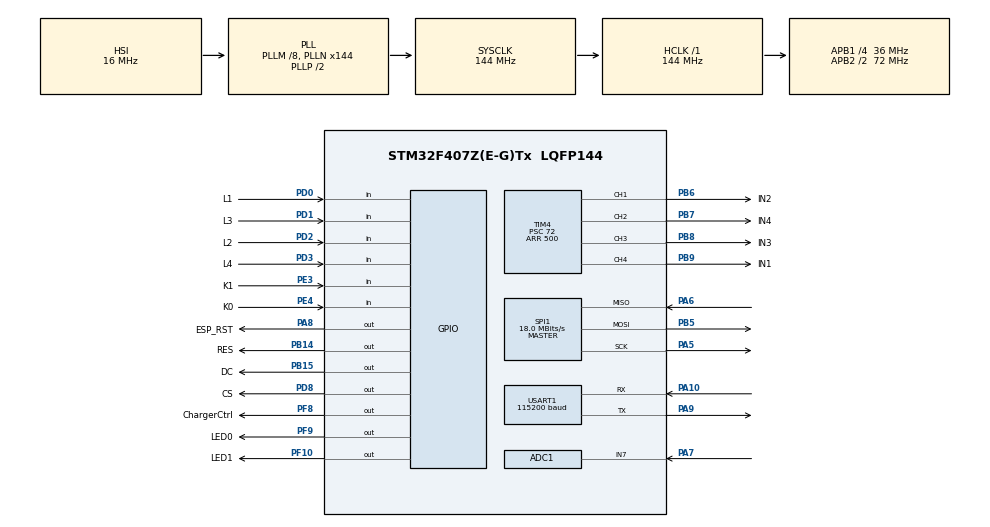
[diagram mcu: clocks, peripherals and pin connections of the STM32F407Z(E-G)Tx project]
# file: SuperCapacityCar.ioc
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ADC1.Channel-3\#ChannelRegularConversion=ADC_CHANNEL_7
ADC1.ClockPrescaler=ADC_CLOCK_SYNC_PCLK_DIV4
ADC1.ContinuousConvMode=DISABLE
ADC1.DMAContinuousRequests=ENABLE
ADC1.EOCSelection=ADC_EOC_SEQ_CONV
ADC1.ExternalTrigConv=ADC_EXTERNALTRIGCONV_T3_TRGO
ADC1.NbrOfConversionFlag=1
ADC1.Rank-3\#ChannelRegularConversion=1
ADC1.Resolution=ADC_RESOLUTION_12B
ADC1.SamplingTime-3\#ChannelRegularConversion=ADC_SAMPLETIME_3CYCLES
ADC1.ScanConvMode=DISABLE
ADC1.master=1
Dma.ADC1.0.Direction=DMA_PERIPH_TO_MEMORY
Dma.ADC1.0.FIFOMode=DMA_FIFOMODE_DISABLE
Dma.ADC1.0.Instance=DMA2_Stream0
Dma.ADC1.0.MemDataAlignment=DMA_MDATAALIGN_HALFWORD
Dma.ADC1.0.MemInc=DMA_MINC_ENABLE
Dma.ADC1.0.Mode=DMA_CIRCULAR
Dma.ADC1.0.PeriphDataAlignment=DMA_PDATAALIGN_HALFWORD
Dma.ADC1.0.PeriphInc=DMA_PINC_DISABLE
Dma.ADC1.0.Priority=DMA_PRIORITY_HIGH
Dma.Request0=ADC1
FREERTOS.HEAP_NUMBER=4
FREERTOS.INCLUDE_vTaskCleanUpResources=1
FREERTOS.Mutexes01=ACKQueueMutex,Dynamic,NULL;UDPSendMutex,Dynamic,NULL
FREERTOS.Tasks01=CapADCTask,2,128,StartCapADCTask,Default,NULL,Dynamic,NULL,NULL;ChargerADCTask,0,128,StartChargerADCTask,Default,NULL,Dynamic,NULL,NULL;MotorTask,1,128,StartMotorTask,As weak,NULL,Dynamic,NULL,NULL;NetworkSendTask,2,128,StartNetworkSendTask,Default,NULL,Dynamic,NULL,NULL;NetworkReceiveT,-1,128,StartNetworkReceiveTask,Default,NULL,Dynamic,NULL,NULL
FREERTOS.configLIBRARY_MAX_SYSCALL_INTERRUPT_PRIORITY=5
FREERTOS.configMINIMAL_STACK_SIZE=128
FREERTOS.configTOTAL_HEAP_SIZE=0x10000
FREERTOS.configUSE_NEWLIB_REENTRANT=0
FREERTOS.configUSE_RECURSIVE_MUTEXES=1
FREERTOS.copyHeapFile=1
Mcu.Family=STM32F4
Mcu.Name=STM32F407Z(E-G)Tx
Mcu.Package=LQFP144
NVIC.DMA2_Stream0_IRQn=true\:5\:0\:false\:false\:true\:true\:false\:true
NVIC.PriorityGroup=NVIC_PRIORITYGROUP_4
NVIC.TIM1_BRK_TIM9_IRQn=true\:5\:0\:true\:false\:true\:true\:true\:true
NVIC.TIM6_DAC_IRQn=true\:0\:0\:false\:false\:true\:false\:false\:true
NVIC.TimeBase=TIM6_DAC_IRQn
NVIC.TimeBaseIP=TIM6
NVIC.USART1_IRQn=true\:5\:0\:true\:false\:true\:true\:true\:true
PA10.Mode=Asynchronous
PA10.Signal=USART1_RX
PA13.Mode=Trace_Asynchronous_SW
PA13.Signal=SYS_JTMS-SWDIO
PA14.Mode=Trace_Asynchronous_SW
PA14.Signal=SYS_JTCK-SWCLK
PA5.Mode=Full_Duplex_Master
PA5.Signal=SPI1_SCK
PA6.Mode=Full_Duplex_Master
PA6.Signal=SPI1_MISO
PA7.Signal=ADCx_IN7
PA8.GPIO_Label=ESP_RST
PA8.GPIO_PuPd=GPIO_NOPULL
PA8.GPIO_Speed=GPIO_SPEED_FREQ_LOW
PA8.PinState=GPIO_PIN_SET
PA8.Signal=GPIO_Output
PA9.Mode=Asynchronous
PA9.Signal=USART1_TX
PB14.GPIO_Label=RES
PB14.Signal=GPIO_Output
PB15.GPIO_Label=DC
PB15.Signal=GPIO_Output
PB3.Mode=Trace_Asynchronous_SW
PB3.Signal=SYS_JTDO-SWO
PB5.Mode=Full_Duplex_Master
PB5.Signal=SPI1_MOSI
PB6.GPIO_Label=IN2
PB6.Signal=S_TIM4_CH1
PB7.GPIO_Label=IN4
PB7.Signal=S_TIM4_CH2
PB8.GPIO_Label=IN3
PB8.Signal=S_TIM4_CH3
PB9.GPIO_Label=IN1
PB9.Signal=S_TIM4_CH4
PC14-OSC32_IN.Mode=LSE-External-Oscillator
PC14-OSC32_IN.Signal=RCC_OSC32_IN
PC15-OSC32_OUT.Mode=LSE-External-Oscillator
PC15-OSC32_OUT.Signal=RCC_OSC32_OUT
PD0.GPIO_Label=L1
PD0.Signal=GPIO_Input
PD1.GPIO_Label=L3
PD1.Signal=GPIO_Input
PD2.GPIO_Label=L2
PD2.Signal=GPIO_Input
PD3.GPIO_Label=L4
PD3.Signal=GPIO_Input
PD8.GPIO_Label=CS
PD8.Signal=GPIO_Output
PE3.GPIO_Label=K1
PE3.Signal=GPIO_Input
PE4.GPIO_Label=K0
PE4.GPIO_PuPd=GPIO_PULLUP
PE4.Signal=GPIO_Input
PF10.GPIO_Label=LED1
PF10.Signal=GPIO_Output
PF8.GPIO_Label=ChargerCtrl
PF8.GPIO_PuPd=GPIO_PULLDOWN
PF8.GPIO_Speed=GPIO_SPEED_FREQ_HIGH
PF8.Signal=GPIO_Output
PF9.GPIO_Label=LED0
PF9.PinState=GPIO_PIN_SET
PF9.Signal=GPIO_Output
PH0-OSC_IN.Mode=HSE-External-Oscillator
PH0-OSC_IN.Signal=RCC_OSC_IN
PH1-OSC_OUT.Mode=HSE-External-Oscillator
PH1-OSC_OUT.Signal=RCC_OSC_OUT
ProjectManager.HeapSize=0x200
ProjectManager.StackSize=0x400
ProjectManager.TargetToolchain=Other Toolchains (GPDSC)
RCC.48MHZClocksFreq_Value=48000000
RCC.AHBFreq_Value=144000000
RCC.APB1CLKDivider=RCC_HCLK_DIV4
RCC.APB1Freq_Value=36000000
RCC.APB1TimFreq_Value=72000000
RCC.APB2CLKDivider=RCC_HCLK_DIV2
RCC.APB2Freq_Value=72000000
RCC.APB2TimFreq_Value=144000000
RCC.CortexFreq_Value=144000000
RCC.HCLKFreq_Value=144000000
RCC.HSE_VALUE=8000000
RCC.HSI_VALUE=16000000
RCC.PLLM=8
RCC.PLLN=144
RCC.PLLQ=6
RCC.SYSCLKFreq_VALUE=144000000
RCC.SYSCLKSource=RCC_SYSCLKSOURCE_PLLCLK
RCC.VCOOutputFreq_Value=288000000
SH.ADCx_IN7.0=ADC1_IN7,IN7
SH.S_TIM4_CH1.0=TIM4_CH1,PWM Generation1 CH1
SH.S_TIM4_CH2.0=TIM4_CH2,PWM Generation2 CH2
SH.S_TIM4_CH3.0=TIM4_CH3,PWM Generation3 CH3
SH.S_TIM4_CH4.0=TIM4_CH4,PWM Generation4 CH4
SPI1.BaudRatePrescaler=SPI_BAUDRATEPRESCALER_4
SPI1.CalculateBaudRate=18.0 MBits/s
SPI1.Direction=SPI_DIRECTION_2LINES
SPI1.Mode=SPI_MODE_MASTER
SPI1.VirtualType=VM_MASTER
TIM3.AutoReloadPreload=TIM_AUTORELOAD_PRELOAD_ENABLE
TIM3.Period=50
TIM3.Prescaler=14400
TIM3.TIM_MasterOutputTrigger=TIM_TRGO_UPDATE
TIM4.AutoReloadPreload=TIM_AUTORELOAD_PRELOAD_ENABLE
TIM4.Channel-PWM\ Generation1\ CH1=TIM_CHANNEL_1
TIM4.Channel-PWM\ Generation2\ CH2=TIM_CHANNEL_2
TIM4.Channel-PWM\ Generation3\ CH3=TIM_CHANNEL_3
TIM4.Channel-PWM\ Generation4\ CH4=TIM_CHANNEL_4
TIM4.OCPolarity_1=TIM_OCPOLARITY_LOW
TIM4.OCPolarity_2=TIM_OCPOLARITY_LOW
TIM4.OCPolarity_3=TIM_OCPOLARITY_LOW
TIM4.OCPolarity_4=TIM_OCPOLARITY_LOW
TIM4.Period=500
TIM4.Prescaler=72
TIM9.AutoReloadPreload=TIM_AUTORELOAD_PRELOAD_ENABLE
TIM9.Period=20000
TIM9.Prescaler=7200
USART1.BaudRate=115200
USART1.Parity=PARITY_NONE
USART1.VirtualMode=VM_ASYNC
USART1.WordLength=WORDLENGTH_8B
VP_CRC_VS_CRC.Mode=CRC_Activate
VP_FREERTOS_VS_CMSIS_V1.Mode=CMSIS_V1
VP_RNG_VS_RNG.Mode=RNG_Activate
VP_SYS_VS_tim6.Mode=TIM6
VP_TIM3_VS_ClockSourceINT.Mode=Internal
VP_TIM4_VS_ClockSourceINT.Mode=Internal
VP_TIM9_VS_ClockSourceINT.Mode=Internal
board=custom

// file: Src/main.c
/* USER CODE BEGIN Header */
/**
  ******************************************************************************
  * @file           : main.c
  * @brief          : Main program body
  ******************************************************************************
  * @attention
  *
  * <h2><center>&copy; Copyright (c) 2021 STMicroelectronics.
  * All rights reserved.</center></h2>
  *
  * This software component is licensed by ST under Ultimate Liberty license
  * SLA0044, the "License"; You may not use this file except in compliance with
  * the License. You may obtain a copy of the License at:
  *                             www.st.com/SLA0044
  *
  ******************************************************************************
  */
/* USER CODE END Header */
#include "main.h"
#include "cmsis_os.h"
#include "adc.h"
#include "crc.h"
#include "dma.h"
#include "rng.h"
#include "spi.h"
#include "tim.h"
#include "usart.h"
#include "gpio.h"

/* USER CODE BEGIN PV */
uint32_t GlobalTick;
/* USER CODE END PV */

void SystemClock_Config(void);
void MX_FREERTOS_Init(void);

int main(void)
{

  /* MCU Configuration--------------------------------------------------------*/

  /* Reset of all peripherals, Initializes the Flash interface and the Systick. */
  HAL_Init();

  /* Configure the system clock */
  SystemClock_Config();

  /* Initialize all configured peripherals */
  MX_GPIO_Init();
  MX_DMA_Init();
  MX_ADC1_Init();
  MX_USART1_UART_Init();
  MX_TIM3_Init();
  MX_RNG_Init();
  MX_TIM9_Init();
  MX_CRC_Init();
  MX_SPI1_Init();
  MX_TIM4_Init();

  /* Call init function for freertos objects (in freertos.c) */
  MX_FREERTOS_Init();
  /* Start scheduler */
  osKernelStart();

  /* We should never get here as control is now taken by the scheduler */
  /* Infinite loop */
  while (1)
  {

  }
}

void SystemClock_Config(void)
{
  RCC_OscInitTypeDef RCC_OscInitStruct = {0};
  RCC_ClkInitTypeDef RCC_ClkInitStruct = {0};

  /** Configure the main internal regulator output voltage
  */
  __HAL_RCC_PWR_CLK_ENABLE();
  __HAL_PWR_VOLTAGESCALING_CONFIG(PWR_REGULATOR_VOLTAGE_SCALE1);
  /** Initializes the RCC Oscillators according to the specified parameters
  * in the RCC_OscInitTypeDef structure.
  */
  RCC_OscInitStruct.OscillatorType = RCC_OSCILLATORTYPE_HSI;
  RCC_OscInitStruct.HSIState = RCC_HSI_ON;
  RCC_OscInitStruct.HSICalibrationValue = RCC_HSICALIBRATION_DEFAULT;
  RCC_OscInitStruct.PLL.PLLState = RCC_PLL_ON;
  RCC_OscInitStruct.PLL.PLLSource = RCC_PLLSOURCE_HSI;
  RCC_OscInitStruct.PLL.PLLM = 8;
  RCC_OscInitStruct.PLL.PLLN = 144;
  RCC_OscInitStruct.PLL.PLLP = RCC_PLLP_DIV2;
  RCC_OscInitStruct.PLL.PLLQ = 6;
  if (HAL_RCC_OscConfig(&RCC_OscInitStruct) != HAL_OK)
  {
    Error_Handler();
  }
  /** Initializes the CPU, AHB and APB buses clocks
  */
  RCC_ClkInitStruct.ClockType = RCC_CLOCKTYPE_HCLK|RCC_CLOCKTYPE_SYSCLK
                              |RCC_CLOCKTYPE_PCLK1|RCC_CLOCKTYPE_PCLK2;
  RCC_ClkInitStruct.SYSCLKSource = RCC_SYSCLKSOURCE_PLLCLK;
  RCC_ClkInitStruct.AHBCLKDivider = RCC_SYSCLK_DIV1;
  RCC_ClkInitStruct.APB1CLKDivider = RCC_HCLK_DIV4;
  RCC_ClkInitStruct.APB2CLKDivider = RCC_HCLK_DIV2;

  if (HAL_RCC_ClockConfig(&RCC_ClkInitStruct, FLASH_LATENCY_4) != HAL_OK)
  {
    Error_Handler();
  }
}

 /**
  * @brief  Period elapsed callback in non blocking mode
  * @note   This function is called  when TIM6 interrupt took place, inside
  * HAL_TIM_IRQHandler(). It makes a direct call to HAL_IncTick() to increment
  * a global variable "uwTick" used as application time base.
  * @param  htim : TIM handle
  * @retval None
  */
void HAL_TIM_PeriodElapsedCallback(TIM_HandleTypeDef *htim)
{
  /* USER CODE BEGIN Callback 0 */
  if (htim->Instance == TIM9) {
    GlobalTick++;
    HAL_GPIO_TogglePin(LED0_GPIO_Port,LED0_Pin);
  }
  /* USER CODE END Callback 0 */
  if (htim->Instance == TIM6) {
    HAL_IncTick();
  }
}

void Error_Handler(void)
{
  __disable_irq();
  while (1)
  {
  }
}

/************************ (C) COPYRIGHT STMicroelectronics *****END OF FILE****/

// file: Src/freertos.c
/* USER CODE BEGIN Header */
/**
  ******************************************************************************
  * File Name          : freertos.c
  * Description        : Code for freertos applications
  ******************************************************************************
  * @attention
  *
  * <h2><center>&copy; Copyright (c) 2021 STMicroelectronics.
  * All rights reserved.</center></h2>
  *
  * This software component is licensed by ST under Ultimate Liberty license
  * SLA0044, the "License"; You may not use this file except in compliance with
  * the License. You may obtain a copy of the License at:
  *                             www.st.com/SLA0044
  *
  ******************************************************************************
  */
/* USER CODE END Header */

#include "FreeRTOS.h"
#include "task.h"
#include "main.h"
#include "cmsis_os.h"

/* USER CODE BEGIN Includes */
// #include "printf-stdarg.h"
#include "retarget.h"
#include <stdio.h>
#include <string.h>
#include "adc.h"
#include "dma.h"
#include "spi.h"
#include "tim.h"
#include "crc.h"
#include "usart.h"
#include "gpio.h"
#include "rng.h"
// #include "TM1637.h"
// #include "ssd1306.h"
// #include "ssd1306_tests.h"
#include "oled.h"
#include "motor.h"
#include "sensor.h"
#include "ESP.h"
#include "stream_buffer.h"
#include "message_buffer.h"
/* USER CODE END Includes */

/* USER CODE BEGIN PD */
#define ACK_MAX_RETRY 3
#define ACK_OVERFLOW 0xFF
/* USER CODE END PD */

/* USER CODE BEGIN Variables */
uint32_t adc1_7_res;
float cap_avg;
uint8_t MotorStatus;
// TM1637 dp;
uint8_t idTail;
extern uint32_t GlobalTick;

SemaphoreHandle_t ACKSemaphore[128];
uint8_t ACKTimes[128];
UDPRequest ACK[128];
uint32_t ACKcrc[128];

QueueHandle_t SendQueueHandle;
MessageBufferHandle_t ReceiveQueueHandle;

/* USER CODE END Variables */
osThreadId CapADCTaskHandle;
osThreadId ChargerADCTaskHandle;
osThreadId MotorTaskHandle;
osThreadId NetworkSendTaskHandle;
osThreadId NetworkReceiveTHandle;
osMutexId ACKQueueMutexHandle;
osMutexId UDPSendMutexHandle;

/* USER CODE BEGIN FunctionPrototypes */
uint32_t CRC32(uint8_t *data,size_t len);
void ChargerOff();
void ChargerOn();
void MotorStart();
void MotorStop();
void MotorSpeed();
void StartCharge();
float GetCapVol();
float GetAvgCapVol();
uint8_t BitCount(uint8_t *data, size_t len);
uint8_t SendACKPackage(uint8_t id, uint8_t resend, uint32_t crc);
uint8_t SendUDPPackage(uint8_t op, uint8_t qos, uint8_t *data, size_t len);
uint8_t SendAMGData(const AMGData * data,int qos);
inline uint16_t HammingUnpack(uint16_t v);
inline uint16_t HammingPack(uint16_t v);
inline uint8_t GetACKid();
void FreeACK(uint8_t id);
void ACKSemaphoreInit();
void StartOLEDTask(void const * argument);
void StartSingleACKTask(void const * argument);
/* USER CODE END FunctionPrototypes */

void StartCapADCTask(void const * argument);
void StartChargerADCTask(void const * argument);
void StartMotorTask(void const * argument);
void StartNetworkSendTask(void const * argument);
void StartNetworkReceiveTask(void const * argument);

void MX_FREERTOS_Init(void); /* (MISRA C 2004 rule 8.1) */

/* GetIdleTaskMemory prototype (linked to static allocation support) */
void vApplicationGetIdleTaskMemory( StaticTask_t **ppxIdleTaskTCBBuffer, StackType_t **ppxIdleTaskStackBuffer, uint32_t *pulIdleTaskStackSize );

/* USER CODE BEGIN GET_IDLE_TASK_MEMORY */
static StaticTask_t xIdleTaskTCBBuffer;
static StackType_t xIdleStack[configMINIMAL_STACK_SIZE];

void vApplicationGetIdleTaskMemory( StaticTask_t **ppxIdleTaskTCBBuffer, StackType_t **ppxIdleTaskStackBuffer, uint32_t *pulIdleTaskStackSize )
{
  *ppxIdleTaskTCBBuffer = &xIdleTaskTCBBuffer;
  *ppxIdleTaskStackBuffer = &xIdleStack[0];
  *pulIdleTaskStackSize = configMINIMAL_STACK_SIZE;
  /* place for user code */
}
/* USER CODE END GET_IDLE_TASK_MEMORY */

void MX_FREERTOS_Init(void) {
  /* USER CODE BEGIN Init */
  RetargetInit();
  OLED_Init();
  HAL_TIM_PWM_Start(&htim4, TIM_CHANNEL_1);
  HAL_TIM_PWM_Start(&htim4, TIM_CHANNEL_2);
  HAL_TIM_PWM_Start(&htim4, TIM_CHANNEL_3);
  HAL_TIM_PWM_Start(&htim4, TIM_CHANNEL_4);
  moto_stop();
  MotorStatus = MOTOR_STOPPED;
  OLED_InitShow();
  idTail = (uint8_t)(HAL_RNG_GetRandomNumber(&hrng) >> (32-8+1));
  HAL_TIM_Base_Start_IT(&htim9);
  HAL_ADC_Start_DMA(&hadc1,&adc1_7_res,1);
  HAL_TIM_Base_Start(&htim3);
  ACKSemaphoreInit();

  /* USER CODE END Init */
  /* Create the mutex(es) */
  /* definition and creation of ACKQueueMutex */
  osMutexDef(ACKQueueMutex);
  ACKQueueMutexHandle = osMutexCreate(osMutex(ACKQueueMutex));

  /* definition and creation of UDPSendMutex */
  osMutexDef(UDPSendMutex);
  UDPSendMutexHandle = osMutexCreate(osMutex(UDPSendMutex));

  /* USER CODE BEGIN RTOS_QUEUES */
  /* add queues, ... */

  SendQueueHandle = xQueueCreate(16, sizeof (UDPRequest));

  ReceiveQueueHandle = xMessageBufferCreate(UART_BUF_SIZE * 8);

  itm_printf("InitHere!!!\n");
  /* USER CODE END RTOS_QUEUES */

  /* Create the thread(s) */
  /* definition and creation of CapADCTask */
  osThreadDef(CapADCTask, StartCapADCTask, osPriorityHigh, 0, 128);
  CapADCTaskHandle = osThreadCreate(osThread(CapADCTask), NULL);

  /* definition and creation of ChargerADCTask */
  osThreadDef(ChargerADCTask, StartChargerADCTask, osPriorityNormal, 0, 128);
  ChargerADCTaskHandle = osThreadCreate(osThread(ChargerADCTask), NULL);

  /* definition and creation of MotorTask */
  osThreadDef(MotorTask, StartMotorTask, osPriorityAboveNormal, 0, 128);
  MotorTaskHandle = osThreadCreate(osThread(MotorTask), NULL);

  /* definition and creation of NetworkSendTask */
  osThreadDef(NetworkSendTask, StartNetworkSendTask, osPriorityHigh, 0, 128);
  NetworkSendTaskHandle = osThreadCreate(osThread(NetworkSendTask), NULL);

  /* definition and creation of NetworkReceiveT */
  osThreadDef(NetworkReceiveT, StartNetworkReceiveTask, osPriorityBelowNormal, 0, 128);
  NetworkReceiveTHandle = osThreadCreate(osThread(NetworkReceiveT), NULL);

}

void StartCapADCTask(void const * argument)
{
  /* USER CODE BEGIN StartCapADCTask */
  uint8_t s[2];
  /* Infinite loop */

  //speed test
  // uint8_t *raw = (uint8_t *)pvPortMalloc(500);
  // memset(raw,'a',500);
  // for (;;)
  // {
  //   SendUDPPackage(0,0,raw,500);
  //   // osDelay(40);
  // }
  //speed test
  uint8_t pos=0;
  float vol[16];
  for (int i=0;i<16;i++)
    cap_avg += (vol[i] = GetCapVol());
  cap_avg /= 16;
  for(uint8_t i=1;1;i++)
  {
    if (GetCapVol() > MAX_CAP_VOL)
      ChargerOff();
    if (GetCapVol() < MIN_CAP_VOL)
      ChargerOn();
    if (!i)
    {
      s[0] = (uint8_t)(adc1_7_res&0xFF);
      s[1] = (uint8_t)(adc1_7_res>>8);
      SendUDPPackage(6,0,s,2);
    }
    if (!(i & (1<<4)))
    {
      cap_avg -= vol[pos]/16;
      vol[pos] = GetCapVol();
      cap_avg += vol[pos]/16;
      pos = ++pos == 16 ? 0 : pos;
    }
    osDelay(5);
  }
  /* USER CODE END StartCapADCTask */
}

void StartChargerADCTask(void const * argument)
{
  /* USER CODE BEGIN StartChargerADCTask */
  /* Infinite loop */
  for(;;)
  {
    osDelay(5);
  }
  /* USER CODE END StartChargerADCTask */
}

__weak void StartMotorTask(void const * argument)
{
  /* USER CODE BEGIN StartMotorTask */
  /* Infinite loop */
  // StartCharge();
  // MotorStatus = MOTOR_RUNNING;
  uint8_t t;
  xTaskCreate((void *)StartOLEDTask, NULL, 128,NULL, osPriorityIdle, NULL);
  MotorStatus = MOTOR_STOPPED;
  while (MotorStatus != MOTOR_RUNNING)
    osDelay(5);
  moto_turn_around();
  MotorStop();
  // while (Find_situation() != CIRCLE)
  //   osDelay(1);
  // moto_anti_clockwise();
  // while (Find_situation() != POSITION_OK)
  //   osDelay(1);
  for(;;)
  {
    osDelay(1);
    if (MotorStatus != MOTOR_RUNNING)
      continue;
    t = Find_situation();
    if (t == TURN_LEFT)
    {
			moto_sprint_left();
      itm_printf("Left\n");
    }
    else if (t == TURN_RIGHT)
    {
			moto_sprint_right();
      itm_printf("Right\n");
    }
    else
    {
      moto_straight();
      itm_printf("Straight\n");
    }
  }
  /* USER CODE END StartMotorTask */
}

/* USER CODE BEGIN Header_StartNetworkSendTask */
/**
* @brief Function that manage the sending of all normal UDP package
* @param argument: Not used
* @retval None
*/
/* USER CODE END Header_StartNetworkSendTask */
void StartNetworkSendTask(void const * argument)
{
  /* USER CODE BEGIN StartNetworkSendTask */
  /* Infinite loop */
  ESPInit();
  __HAL_UART_ENABLE_IT(&huart1, UART_IT_RXNE);
  UDPRequest t;
  for(;;)
  {
    xQueueReceive(SendQueueHandle,&t,portMAX_DELAY);
    // if (t.id!=0)
    //   itm_printf("%d: %p, %d\n",t.id,t.data,ACKTimes[t.id]);
    if (t.id)
      xTaskCreate((void *)StartSingleACKTask, NULL, 128, (void *)&t.id, osPriorityNormal, NULL);
    ESPSend(t.data, t.len);
    if (!t.id)
      vPortFree(t.data);
    osDelay(5);
  }
  /* USER CODE END StartNetworkSendTask */
}

void StartNetworkReceiveTask(void const * argument)
{
  /* USER CODE BEGIN StartNetworkReceiveTask */
  /* Infinite loop */
  uint8_t op, qos, prt, id;
  size_t rlen, len;
  uint8_t *raw, *praw;
  praw = raw = (uint8_t *)pvPortMalloc(UART_BUF_SIZE+1);
  uint16_t header;
  uint32_t crc;
  for(;;)
  {
    raw = praw;
    rlen = xMessageBufferReceive(ReceiveQueueHandle,raw,UART_BUF_SIZE,portMAX_DELAY);
    if (rlen == 0)
      itm_printf("Weird, xMBR report buffer too small\n");
    raw[rlen]='\0';
    // itm_printf("%d:#%s#\n",rlen,raw);
    // for (uint8_t i = 0;i<rlen;i++)
    //   itm_printf("%02x",raw[i]);
    // itm_printf("\n");
    header = HammingUnpack(*((uint16_t *)raw));
    // for now, we don't support ACK request resend
    if (__builtin_popcount(header) & 1) // header check failed, drop package
      continue;
    op  = header >> 5 & 0x07;
    if (op == 0x7) // receive ACK
    {
      if (rlen != 6) // ACK len error, drop
        continue;
      id = header >> 9;
      crc = *((uint32_t *)(raw+2));
      // itm_printf("crc:%lX\n",crc);
      if (id == 0)
        continue;
      if (ACK[id].id == 0 || crc != ACKcrc[id]) // ACK no exist, drop
        continue;
      if (header >> 3 & 1) // ACK request resend NOT WORKING
        xQueueSend(SendQueueHandle,&ACK[id],pdMS_TO_TICKS(200)); // receive resend ACK
      xSemaphoreGive(ACKSemaphore[id]);
      continue;
    }
    len = (header >> 9 & 0x3F) << 3;
    qos = header >> 3 & 0x01;
    prt = header >> 15;
    // itm_printf("%d:#%s#\n",rlen,raw);
    // itm_printf("rlen:%d, len:%d, op:%d, qos:%d, prt:%d\n",rlen,len,op,qos,prt);
    if (len + qos + 2 != rlen) // len error, drop
      continue;
    if (len !=0 && prt != BitCount(raw+2+qos, len))
      continue;
    if (qos)
    {
      crc = CRC32(raw+3,len);
      id = raw[2];
      if (__builtin_popcount(id) & 0x1) // id parity check failed, drop
        continue;
      id &= 0x7F;
      if (id == 0)
        continue;
      // itm_printf("%d %lX\n",id,crc);
      SendACKPackage(id,0,crc);
      raw += 1;
    }
    raw += 2;
    if (op == 0x0)
      itm_printf("Receive: #%s#\n",raw);
    else if (op == 0x1)
      MotorStop();
    else if (op == 0x2)
      MotorStart();
    else if (op == 0x3)
      ChargerOff();
    else if (op == 0x4)
      ChargerOn();
    else if (op == 0x5)
    {
      if (len != 2) // op 0x5 len error, drop
        continue;
      MotorSpeed(*((uint16_t *)raw));
    }
    else if (op == 0x6)
    {
      // PING
    }
    osDelay(1);
  }
  /* USER CODE END StartNetworkReceiveTask */
}

/* USER CODE BEGIN Application */

void ChargerOn()
{
  if (GetCapVol() <= MAX_CAP_VOL)
    HAL_GPIO_WritePin(ChargerCtrl_GPIO_Port,ChargerCtrl_Pin,GPIO_PIN_RESET);
}
void ChargerOff()
{

  if (GetCapVol() >= MIN_CAP_VOL)
    HAL_GPIO_WritePin(ChargerCtrl_GPIO_Port,ChargerCtrl_Pin,GPIO_PIN_SET);
}
void MotorStart()
{
  MotorStatus = MOTOR_RUNNING;
  // moto_straight();
}
void MotorStop()
{
  MotorStatus = MOTOR_STOPPED;
  moto_stop();
}
void MotorSpeed() {}
inline float GetCapVol() {return 3.3 * 5 * adc1_7_res/((1<<12)-1);}
inline float GetAvgCapVol() {return cap_avg;}

void StartCharge()
{
  // uint32_t start_time = GlobalTick;
  for (uint16_t t=1;(GetCapVol() <10.0 && t<=60);t++)
  {
    OLED_ShowTim(GetCapVol(), t);
    vTaskDelay(1000);
  }
  OLED_Clear();
  OLED_ShowChinese(25,22,17,20,1);
  OLED_ShowChinese(45,22,18,20,1);
  OLED_ShowChinese(65,22,19,20,1);
  OLED_ShowChinese(85,22,20,20,1);
}

uint8_t SendAMGData(const AMGData * data,int qos)
{
  uint8_t *raw = pvPortMalloc(12 * 64 / 8);
  uint8_t *p = raw;
  uint16_t a,b;
  uint8_t ret;
  for (int i=0,j=1;i<64;i+=2,j+=2)
  {
    a = (data->data[i] & ((1<<12) - 1));
    b = (data->data[j] & ((1<<12) - 1));
    *(p++) = a & ((1<<8) - 1);
    *(p++) = (a >> 8) || b & ((1<<4) - 1);
    *(p++) = b >> 4;
  }
  ret = SendUDPPackage(1,0,raw,12 * 64 / 8);
  vPortFree(raw);
  return ret;
}

uint32_t CRC32(uint8_t *data,size_t len)
{
  if (len==0)
    return 0;
  size_t rlen = (len-1)/4+1;
  uint32_t *raw = (uint32_t *)pvPortMalloc(rlen*4);
  raw[rlen-1] = 0;
  memcpy(raw,data,len);
  for (int i=0;i<rlen;i++)
    raw[i]= __RBIT(raw[i]);
  uint32_t ret = HAL_CRC_Calculate(&hcrc,raw,rlen);
  vPortFree(raw);
  return __RBIT(ret)^0xFFFFFFFF;
}

void FreeACK(uint8_t id)
{
  vPortFree(ACK[id].data);
  ACKTimes[id] = 0;
  ACK[id].len = 0;
  ACK[id].id = 0;
}

void StartOLEDTask(void const * argument)
{
  OLED_Refresh();
  OLED_Clear();
  OLED_TypeP();
  for(;;)
  {
    OLED_ShowPerc(GetAvgCapVol());
    osDelay(1000);
  }
}

void StartSingleACKTask(void const * argument)
{
  uint8_t id = *((uint8_t *)argument);
  // itm_printf("%d %d %p\n",ACK[id].id,ACK[id].len,ACK[id].data);
  if (xSemaphoreTake(ACKSemaphore[id],pdMS_TO_TICKS(1500)) != pdPASS)
  {
    if (ACKTimes[id]==ACK_MAX_RETRY)
    {
      itm_printf("%d reach ACK_MAX_RETRY time..\n",id);
      FreeACK(id);
    }
    else if (ACKTimes[id]==ACK_OVERFLOW)
    {
      itm_printf("ACK array overflow!!(%d cleaned)\n",id);
      FreeACK(id);
    }
    else
    {
      ACKTimes[id]++;
      if (xQueueSend(SendQueueHandle,&(ACK[id]),pdMS_TO_TICKS(200)) != pdPASS)
        FreeACK(id);
    }
  }
  else
  {
    itm_printf("Got %d ACK!\n",id);
    FreeACK(id);
  }
  vTaskDelete(NULL);
}

uint8_t BitCount(uint8_t *data, size_t len)
{
  uint8_t ret = 0;
  while (len--)
    ret ^= __builtin_popcount(data[len]) & 1;
  return ret;
}

uint8_t SendACKPackage(uint8_t id, uint8_t resend, uint32_t crc)
{
  if (id>=(1<<7))
    return NETWORK_SEND_FAILED;
  uint16_t header = (resend<<3) | (0x7 << 5) | (id << 9);
  UDPRequest t;
  header = HammingPack(header);
  header = header | (__builtin_popcount(header) & 1);
  uint8_t *raw = (uint8_t *)pvPortMalloc(6);
  memcpy(raw,&header,2);
  memcpy(raw+2,&crc,4);
  t.data = raw;
  t.len = 6;
  t.id = 0;
  if (xQueueSend(SendQueueHandle,&t,pdMS_TO_TICKS(100))!=pdPASS)
  {
    vPortFree(raw);
    return NETWORK_SEND_FAILED;
  }
  return NETWORK_SEND_OK;
}

uint8_t SendUDPPackage(uint8_t op, uint8_t qos, uint8_t *data, size_t len)
{
  osMutexWait(UDPSendMutexHandle,osWaitForever);
  if (data!=NULL && len == 0xFFFF)
    len = strlen((char *)data);
  uint8_t *raw;
  UDPRequest t;
  if (op>=(1<<3) || len>=(1<<9) || qos>=(1<<1))
    return NETWORK_SEND_FAILED;
  size_t plen = (((len & 0x7) != 0) + (len >> 3)) << 3;
  uint16_t header = (qos << 3) | (op << 5) | ((plen >> 3) << 9) | ((BitCount((uint8_t *)data, len)) << 15);
  header = HammingPack(header);
  header = header | (__builtin_popcount(header) & 1);

  if (qos == QOS_ACK)
  {
    uint8_t id = GetACKid();
    if (id == 0)
    {
      itm_printf("id has ran out\n");
      osMutexRelease(UDPSendMutexHandle);
      return NETWORK_SEND_FAILED;
    }
    raw = (uint8_t *)pvPortMalloc(plen + 3);
    // itm_printf("%p:%d %d\n",raw,len,plen);
    memcpy(raw,(uint8_t *)(&header),2);
    raw[2] = id | ((__builtin_popcount(id) & 1) << 7);
    if (len != 0)
      memcpy(raw+3,(uint8_t *)data,len);
    if (len & 0x7)
      memset(raw+3+len,0,plen-len);
    len = plen + 3;
    t.id = id;
    ACK[id].data = raw;
    ACK[id].len = len;
    ACK[id].id = id;
    ACKcrc[id] = CRC32(raw+3, plen);
  }
  else
  {
    raw = (uint8_t *)pvPortMalloc(plen + 2);
    // itm_printf("%p\n",raw);
    memcpy(raw,(uint8_t *)(&header),2);
    if (len != 0)
      memcpy(raw+2,(uint8_t *)data,len);
    if (len & 0x7)
      memset(raw+2+len,0,plen-len);
    len = plen + 2;
    t.id = 0;
  }
  t.data = raw;
  t.len = len;
  itm_printf("%d:#%s#\n",len,raw);
  for (uint8_t i = 0;i<len;i++)
    itm_printf("%02x",raw[i]);
  itm_printf("\n");
  if (xQueueSend(SendQueueHandle,&t,pdMS_TO_TICKS(100))!=pdPASS)
  {
    vPortFree(raw);
    osMutexRelease(UDPSendMutexHandle);
    return NETWORK_SEND_FAILED;
  }
  osMutexRelease(UDPSendMutexHandle);
  return NETWORK_SEND_OK;
}

uint16_t HammingUnpack(uint16_t v)
{
  uint16_t p = 0;
  for (uint8_t i=0;i<16;i++)
    p ^= (1<<i) & v ? i : 0;
  return p ? v^(1<<p) : v;
  /*check: __builtin_popcount(ret) != 0 --> more than 1*/
}

uint16_t HammingPack(uint16_t v)
{
  v |= (((v >> 3) ^ (v >> 5) ^ (v >> 7) ^ (v >> 9) ^ (v >> 11) ^ (v >> 13) ^ (v >> 15)) & 1) << 1;
  v |= (((v >> 3) ^ (v >> 6) ^ (v >> 7) ^ (v >> 10) ^ (v >> 11) ^ (v >> 14) ^ (v >> 15)) & 1) << 2;
  v |= (((v >> 5) ^ (v >> 6) ^ (v >> 7) ^ (v >> 12) ^ (v >> 13) ^ (v >> 14) ^ (v >> 15)) & 1) << 4;
  v |= (((v >> 9) ^ (v >> 10) ^ (v >> 11) ^ (v >> 12) ^ (v >> 13) ^ (v >> 14) ^ (v >> 15)) & 1) << 8;
  return v;
}

uint8_t GetACKid()
{
  uint8_t i=idTail | 0x80;
  for (;idTail != i && ((i & 0x7F) == 0 || ACK[i&0x7F].id != 0);i++);
  idTail = (i + 1) & 0x7F;
  return ACK[i ^= 0x80].id ? 0 : i;
}

void ACKSemaphoreInit()
{
  for (uint8_t i=0;i<(1<<7);i++)
    ACKSemaphore[i]=xSemaphoreCreateBinary();
}

/* USER CODE END Application */

/************************ (C) COPYRIGHT STMicroelectronics *****END OF FILE****/
